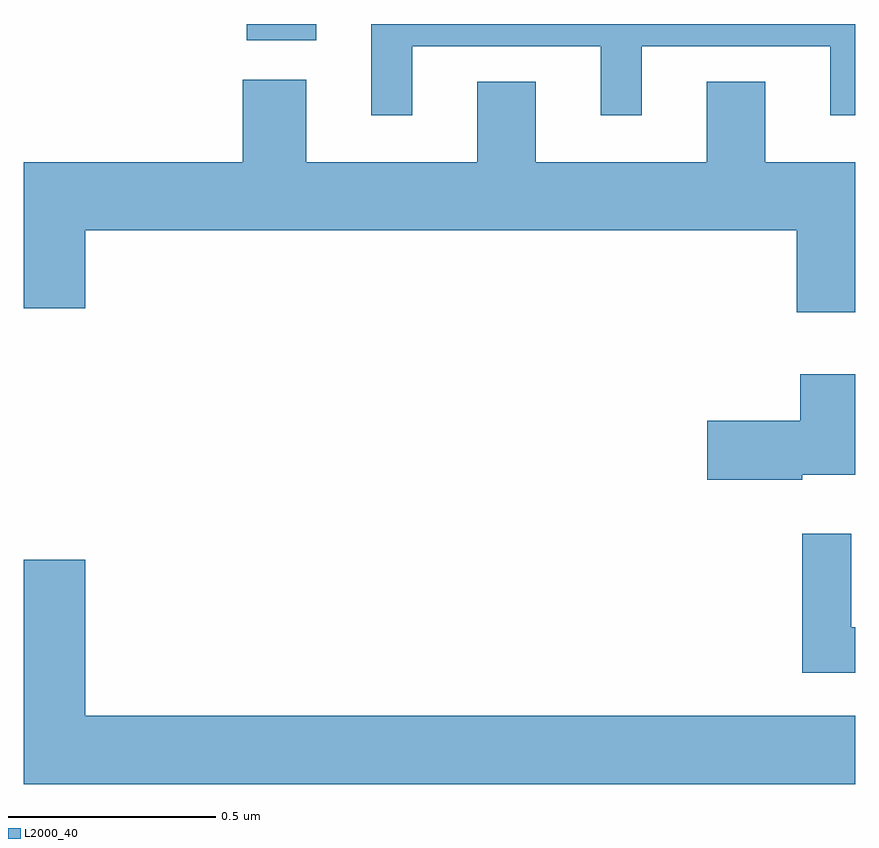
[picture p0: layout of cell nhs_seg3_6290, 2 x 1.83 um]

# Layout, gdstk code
import gdstk
lib = gdstk.Library(unit=1e-6, precision=1e-09)
def R(c, l, rs):  # rectangles x0, y0, x1, y1
    for r in rs: c.add(gdstk.rectangle(r[:2], r[2:], *l))
def P(c, l, *ps):  # polygons
    for p in ps: c.add(gdstk.Polygon(p, *l))
L2000_40 = (2000, 40)

nhs_seg3_6290 = lib.new_cell('nhs_seg3_6290')
R(nhs_seg3_6290, L2000_40, [(189.536,713.361,189.703,713.4)])
P(nhs_seg3_6290, L2000_40, [(189.934,713.346),(190.388,713.346),(190.388,713.181),(190.486,713.181),(190.486,713.346),(190.94,713.346),(190.94,713.181),(191,713.181),(191,713.4),(189.836,713.4),(189.836,713.181),(189.934,713.181)],
  [(191,713.068),(190.783,713.068),(190.783,713.261),(190.643,713.261),(190.643,713.068),(190.231,713.068),(190.231,713.261),(190.091,713.261),(190.091,713.068),(189.679,713.068),(189.679,713.266),(189.527,713.266),(189.527,713.068),(189,713.068),(189,712.716),(189.148,712.716),(189.148,712.904),(190.859,712.904),(190.859,712.707),(191,712.707)],
  [(190.872,712.316),(191,712.316),(191,712.558),(190.868,712.558),(190.868,712.446),(190.644,712.446),(190.644,712.304),(190.872,712.304)],
  [(191,711.949),(190.99,711.949),(190.99,712.174),(190.873,712.174),(190.873,711.84),(191,711.84)],
  [(191,711.736),(189.148,711.736),(189.148,712.111),(189,712.111),(189,711.572),(191,711.572)])

lib.write_gds('nhs_seg3_6290.gds')
